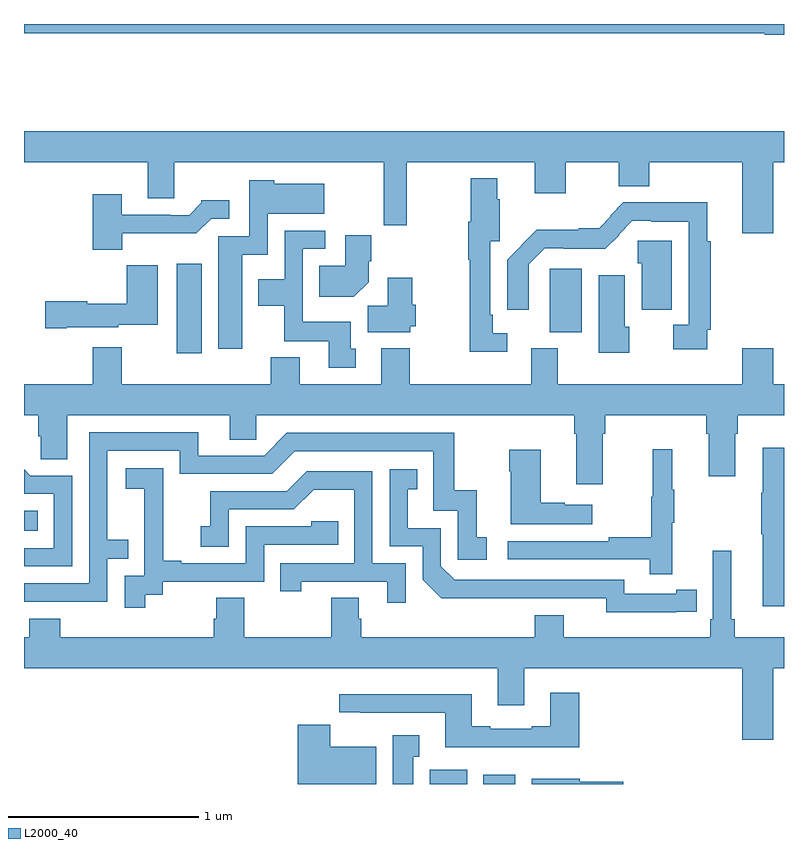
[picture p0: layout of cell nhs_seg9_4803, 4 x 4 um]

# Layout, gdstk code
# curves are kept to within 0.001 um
import gdstk
lib = gdstk.Library(unit=1e-6, precision=1e-09)
def R(c, l, rs):  # rectangles x0, y0, x1, y1
    for r in rs: c.add(gdstk.rectangle(r[:2], r[2:], *l))
def P(c, l, *ps):  # polygons
    for p in ps: c.add(gdstk.Polygon(p, *l))
L2000_40 = (2000, 40)

nhs_seg9_4803 = lib.new_cell('nhs_seg9_4803')
R(nhs_seg9_4803, L2000_40, [(391.136,1174.5,391.333,1174.576), (391.418,1174.5,391.585,1174.549), (389,1175.834,389.072,1175.938), (389.804,1176.768,389.935,1177.237), (391.766,1176.878,391.936,1177.212)])
P(nhs_seg9_4803, L2000_40, [(393,1178.5),(389,1178.5),(389,1178.452),(392.898,1178.452),(392.898,1178.444),(393,1178.444)],
  [(392.944,1177.772),(393,1177.772),(393,1177.936),(389,1177.936),(389,1177.772),(389.651,1177.772),(389.651,1177.582),(389.791,1177.582),(389.791,1177.772),(390.894,1177.772),(390.894,1177.44),(391.015,1177.44),(391.015,1177.772),(391.688,1177.772),(391.688,1177.608),(391.852,1177.608),(391.852,1177.772),(392.129,1177.772),(392.129,1177.646),(392.29,1177.646),(392.29,1177.772),(392.78,1177.772),(392.78,1177.398),(392.944,1177.398)],
  [(391.543,1176.873),(391.467,1176.873),(391.467,1176.97),(391.455,1176.97),(391.455,1177.356),(391.505,1177.356),(391.505,1177.577),(391.492,1177.577),(391.492,1177.687),(391.351,1177.687),(391.351,1177.459),(391.339,1177.459),(391.339,1177.259),(391.347,1177.259),(391.347,1176.776),(391.543,1176.776)],
  [(390.148,1177.286),(390.282,1177.286),(390.282,1177.502),(390.58,1177.502),(390.58,1177.66),(390.318,1177.66),(390.318,1177.678),(390.186,1177.678),(390.186,1177.383),(390.023,1177.383),(390.023,1176.792),(390.148,1176.792)],
  [(389.518,1177.398),(389.907,1177.398),(389.985,1177.476),(390.079,1177.476),(390.079,1177.573),(389.934,1177.573),(389.934,1177.558),(389.87,1177.494),(389.771,1177.494),(389.771,1177.497),(389.515,1177.497),(389.515,1177.603),(389.363,1177.603),(389.363,1177.313),(389.518,1177.313)],
  [(392.595,1176.892),(392.615,1176.892),(392.615,1177.357),(392.597,1177.357),(392.597,1177.561),(392.155,1177.561),(392.085,1177.491),(392.089,1177.487),(392.027,1177.425),(391.919,1177.425),(391.919,1177.417),(391.699,1177.417),(391.544,1177.26),(391.544,1176.996),(391.656,1176.996),(391.656,1177.236),(391.74,1177.32),(391.84,1177.32),(391.84,1177.316),(392.059,1177.316),(392.133,1177.389),(392.13,1177.392),(392.202,1177.464),(392.302,1177.464),(392.302,1177.46),(392.499,1177.46),(392.499,1176.916),(392.416,1176.916),(392.416,1176.788),(392.595,1176.788)],
  [(390.745,1176.792),(390.721,1176.792),(390.721,1176.934),(390.468,1176.934),(390.468,1177.317),(390.586,1177.317),(390.586,1177.413),(390.372,1177.413),(390.372,1177.156),(390.233,1177.156),(390.233,1177.016),(390.37,1177.016),(390.37,1176.83),(390.605,1176.83),(390.605,1176.69),(390.745,1176.69)],
  [(390.814,1177.142),(390.814,1177.252),(390.827,1177.252),(390.827,1177.387),(390.692,1177.387),(390.692,1177.228),(390.553,1177.228),(390.553,1177.064),(390.736,1177.064)],
  [(392.41,1177.359),(392.229,1177.359),(392.229,1177.242),(392.252,1177.242),(392.252,1176.997),(392.41,1176.997)],
  [(389.224,1176.905),(389.496,1176.905),(389.496,1176.917),(389.704,1176.917),(389.704,1177.231),(389.542,1177.231),(389.542,1177.027),(389.334,1177.027),(389.334,1177.04),(389.112,1177.04),(389.112,1176.898),(389.224,1176.898)],
  [(392.185,1176.906),(392.161,1176.906),(392.161,1177.177),(392.024,1177.177),(392.024,1176.77),(392.185,1176.77)],
  [(391.032,1176.909),(391.062,1176.909),(391.062,1177.023),(391.044,1177.023),(391.044,1177.165),(390.914,1177.165),(390.914,1177.016),(390.809,1177.016),(390.809,1176.878),(391.032,1176.878)],
  [(392.78,1176.793),(392.78,1176.604),(391.81,1176.604),(391.81,1176.793),(391.67,1176.793),(391.67,1176.604),(391.029,1176.604),(391.029,1176.793),(390.881,1176.793),(390.881,1176.604),(390.451,1176.604),(390.451,1176.745),(390.299,1176.745),(390.299,1176.604),(389.515,1176.604),(389.515,1176.799),(389.363,1176.799),(389.363,1176.604),(389,1176.604),(389,1176.44),(389.075,1176.44),(389.075,1176.331),(389.088,1176.331),(389.088,1176.208),(389.227,1176.208),(389.227,1176.44),(390.083,1176.44),(390.083,1176.313),(390.222,1176.313),(390.222,1176.44),(391.895,1176.44),(391.895,1176.344),(391.907,1176.344),(391.907,1176.078),(392.047,1176.078),(392.047,1176.344),(392.06,1176.344),(392.06,1176.44),(392.591,1176.44),(392.591,1176.344),(392.603,1176.344),(392.603,1176.12),(392.743,1176.12),(392.743,1176.344),(392.756,1176.344),(392.756,1176.44),(393,1176.44),(393,1176.604),(392.944,1176.604),(392.944,1176.793)],
  [(389.439,1175.685),(389.549,1175.685),(389.549,1175.786),(389.439,1175.786),(389.439,1176.255),(389.82,1176.255),(389.82,1176.132),(390.306,1176.132),(390.426,1176.252),(391.155,1176.252),(391.155,1175.937),(391.284,1175.937),(391.284,1175.679),(391.435,1175.679),(391.435,1175.799),(391.382,1175.799),(391.382,1176.046),(391.264,1176.046),(391.264,1176.348),(390.384,1176.348),(390.264,1176.228),(389.917,1176.228),(389.917,1176.351),(389.343,1176.351),(389.343,1175.556),(389,1175.556),(389,1175.46),(389.439,1175.46)],
  [(393,1176.271),(392.888,1176.271),(392.888,1176.033),(392.881,1176.033),(392.881,1175.815),(392.888,1175.815),(392.888,1175.436),(393,1175.436)],
  [(392.411,1175.875),(392.422,1175.875),(392.422,1176.049),(392.411,1176.049),(392.411,1176.262),(392.308,1176.262),(392.308,1176.012),(392.301,1176.012),(392.301,1175.798),(392.077,1175.798),(392.077,1175.778),(391.545,1175.778),(391.545,1175.682),(392.293,1175.682),(392.293,1175.604),(392.411,1175.604)],
  [(391.99,1175.971),(391.847,1175.971),(391.847,1175.981),(391.72,1175.981),(391.72,1176.259),(391.555,1176.259),(391.555,1176.146),(391.562,1176.146),(391.562,1175.867),(391.99,1175.867)],
  [(389.638,1175.497),(389.73,1175.497),(389.73,1175.565),(390.264,1175.565),(390.264,1175.76),(390.653,1175.76),(390.653,1175.883),(390.513,1175.883),(390.513,1175.856),(390.168,1175.856),(390.168,1175.661),(389.827,1175.661),(389.827,1175.674),(389.732,1175.674),(389.732,1175.957),(389.733,1175.957),(389.733,1176.163),(389.535,1176.163),(389.535,1176.053),(389.633,1176.053),(389.633,1175.825),(389.634,1175.825),(389.634,1175.595),(389.529,1175.595),(389.529,1175.427),(389.638,1175.427)],
  [(389.253,1176.123),(389.034,1176.123),(389,1176.157),(389,1176.027),(389.157,1176.027),(389.157,1175.742),(389,1175.742),(389,1175.646),(389.253,1175.646)],
  [(392.432,1175.406),(392.54,1175.406),(392.54,1175.522),(392.432,1175.522),(392.432,1175.502),(392.16,1175.502),(392.16,1175.574),(391.266,1175.574),(391.194,1175.646),(391.194,1175.847),(391.021,1175.847),(391.021,1176.051),(391.07,1176.051),(391.07,1176.157),(390.924,1176.157),(390.924,1175.751),(391.098,1175.751),(391.098,1175.574),(391.196,1175.477),(392.064,1175.478),(392.064,1175.405)],
  [(391.008,1175.661),(390.834,1175.661),(390.834,1176.147),(390.488,1176.147),(390.383,1176.042),(389.98,1176.042),(389.98,1175.857),(389.931,1175.857),(389.931,1175.748),(390.078,1175.748),(390.078,1175.946),(390.42,1175.946),(390.524,1176.05),(390.738,1176.05),(390.738,1175.661),(390.349,1175.661),(390.349,1175.514),(390.46,1175.514),(390.46,1175.565),(390.911,1175.565),(390.911,1175.454),(391.008,1175.454)],
  [(392.944,1175.108),(393,1175.108),(393,1175.272),(392.741,1175.272),(392.741,1175.368),(392.722,1175.368),(392.722,1175.728),(392.625,1175.728),(392.625,1175.368),(392.612,1175.368),(392.612,1175.272),(391.84,1175.272),(391.84,1175.389),(391.688,1175.389),(391.688,1175.272),(390.776,1175.272),(390.776,1175.37),(390.763,1175.37),(390.763,1175.48),(390.616,1175.48),(390.616,1175.272),(390.159,1175.272),(390.159,1175.48),(390.011,1175.48),(390.011,1175.37),(389.999,1175.37),(389.999,1175.272),(389.192,1175.272),(389.192,1175.371),(389.027,1175.371),(389.027,1175.272),(389,1175.272),(389,1175.108),(391.493,1175.108),(391.493,1174.914),(391.633,1174.914),(391.633,1175.108),(392.78,1175.108),(392.78,1174.734),(392.944,1174.734)],
  [(391.922,1174.981),(391.769,1174.981),(391.769,1174.804),(391.673,1174.804),(391.673,1174.791),(391.453,1174.791),(391.453,1174.804),(391.357,1174.804),(391.357,1174.972),(390.66,1174.972),(390.66,1174.877),(390.769,1174.877),(390.769,1174.875),(391.217,1174.875),(391.217,1174.694),(391.922,1174.694)],
  [(390.853,1174.696),(390.613,1174.696),(390.613,1174.812),(390.44,1174.812),(390.44,1174.5),(390.853,1174.5)],
  [(391.048,1174.643),(391.081,1174.643),(391.081,1174.756),(390.941,1174.756),(390.941,1174.5),(391.048,1174.5)],
  [(392.155,1174.511),(391.924,1174.511),(391.924,1174.528),(391.673,1174.528),(391.673,1174.5),(392.155,1174.5)])

lib.write_gds('nhs_seg9_4803.gds')
